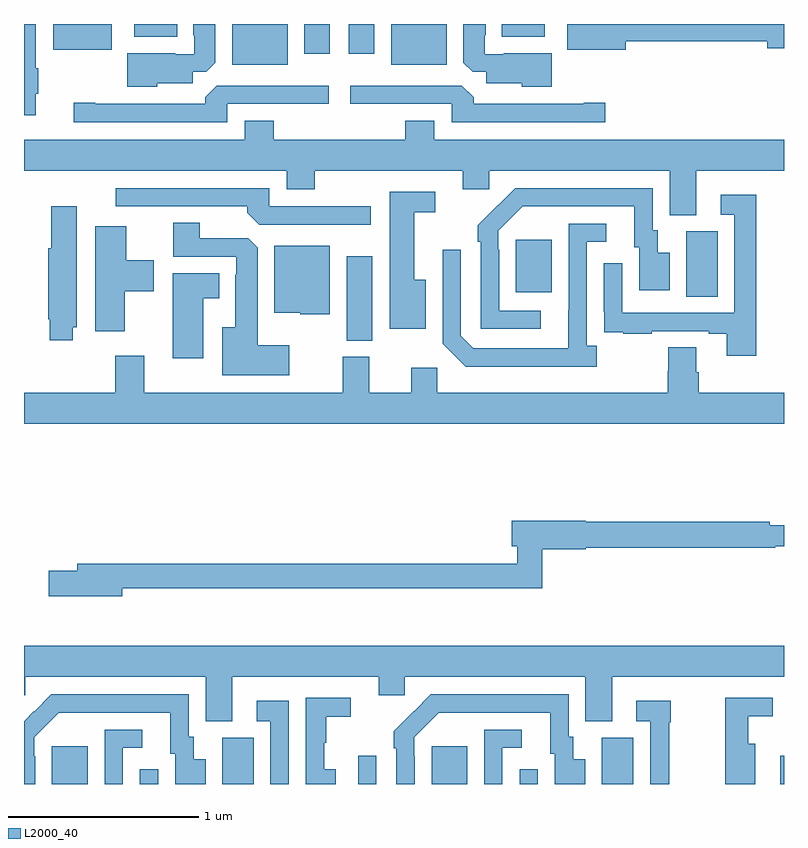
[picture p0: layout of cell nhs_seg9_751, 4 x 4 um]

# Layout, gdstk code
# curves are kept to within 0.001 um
import gdstk
lib = gdstk.Library(unit=1e-6, precision=1e-09)
def R(c, l, rs):  # rectangles x0, y0, x1, y1
    for r in rs: c.add(gdstk.rectangle(r[:2], r[2:], *l))
def P(c, l, *ps):  # polygons
    for p in ps: c.add(gdstk.Polygon(p, *l))
L2000_40 = (2000, 40)

nhs_seg9_751 = lib.new_cell('nhs_seg9_751')
R(nhs_seg9_751, L2000_40, [(149.147,1218.5,149.335,1218.7), (149.61,1218.5,149.706,1218.577), (150.044,1218.5,150.208,1218.744), (150.759,1218.5,150.855,1218.649), (151.145,1218.5,151.333,1218.7), (151.608,1218.5,151.704,1218.577), (152.042,1218.5,152.206,1218.744), (152.979,1218.5,153,1218.649), (150.698,1220.833,150.832,1221.277), (152.486,1221.064,152.65,1221.408), (151.589,1221.089,151.777,1221.364), (150.095,1222.286,150.388,1222.5), (150.932,1222.286,151.225,1222.5), (150.476,1222.344,150.61,1222.5), (150.71,1222.344,150.844,1222.5), (149.153,1222.364,149.461,1222.5), (149.579,1222.433,149.806,1222.5), (151.514,1222.433,151.741,1222.5)])
P(nhs_seg9_751, L2000_40, [(149.063,1222.132),(149.074,1222.132),(149.074,1222.268),(149.061,1222.268),(149.061,1222.5),(149,1222.5),(149,1222.02),(149.063,1222.02)],
  [(152.167,1222.408),(152.912,1222.408),(152.912,1222.373),(153,1222.373),(153,1222.5),(151.86,1222.5),(151.86,1222.364),(152.167,1222.364)],
  [(151.777,1222.345),(151.525,1222.345),(151.525,1222.341),(151.425,1222.341),(151.425,1222.441),(151.429,1222.441),(151.429,1222.5),(151.313,1222.5),(151.313,1222.297),(151.362,1222.248),(151.433,1222.248),(151.433,1222.187),(151.62,1222.187),(151.62,1222.169),(151.777,1222.169)],
  [(149.7,1222.187),(149.887,1222.187),(149.887,1222.248),(149.958,1222.248),(150.007,1222.297),(150.007,1222.5),(149.891,1222.5),(149.891,1222.441),(149.895,1222.441),(149.895,1222.341),(149.795,1222.341),(149.795,1222.345),(149.543,1222.345),(149.543,1222.169),(149.7,1222.169)],
  [(150.069,1222.08),(150.604,1222.08),(150.604,1222.176),(150.015,1222.176),(149.954,1222.114),(149.954,1222.08),(149.374,1222.08),(149.374,1222.085),(149.262,1222.085),(149.262,1221.984),(150.069,1221.984)],
  [(152.059,1222.085),(151.946,1222.085),(151.946,1222.08),(151.367,1222.08),(151.367,1222.114),(151.305,1222.176),(150.717,1222.176),(150.717,1222.08),(151.251,1222.08),(151.251,1221.984),(152.059,1221.984)],
  [(152.539,1221.728),(153,1221.728),(153,1221.892),(151.159,1221.892),(151.159,1221.991),(151.007,1221.991),(151.007,1221.892),(150.314,1221.892),(150.314,1221.991),(150.161,1221.991),(150.161,1221.892),(149,1221.892),(149,1221.728),(150.383,1221.728),(150.383,1221.629),(150.531,1221.629),(150.531,1221.728),(151.31,1221.728),(151.31,1221.63),(151.449,1221.63),(151.449,1221.728),(152.399,1221.728),(152.399,1221.493),(152.539,1221.493)],
  [(150.826,1221.54),(150.291,1221.54),(150.291,1221.636),(149.484,1221.636),(149.484,1221.54),(150.176,1221.54),(150.176,1221.506),(150.237,1221.444),(150.826,1221.444)],
  [(151.72,1220.991),(151.5,1220.991),(151.5,1221.311),(151.497,1221.311),(151.497,1221.411),(151.626,1221.54),(152.213,1221.54),(152.213,1221.324),(152.237,1221.324),(152.237,1221.099),(152.398,1221.099),(152.398,1221.295),(152.335,1221.295),(152.335,1221.414),(152.31,1221.414),(152.31,1221.636),(151.586,1221.636),(151.389,1221.441),(151.389,1221.353),(151.404,1221.353),(151.404,1220.895),(151.72,1220.895)],
  [(151.114,1221.154),(151.054,1221.154),(151.054,1221.51),(151.165,1221.51),(151.165,1221.618),(150.926,1221.618),(150.926,1220.897),(151.114,1220.897)],
  [(152.855,1221.601),(152.667,1221.601),(152.667,1221.495),(152.739,1221.495),(152.739,1220.979),(152.148,1220.979),(152.148,1221.241),(152.052,1221.241),(152.052,1220.986),(152.053,1220.986),(152.053,1220.877),(152.155,1220.877),(152.155,1220.871),(152.303,1220.871),(152.303,1220.883),(152.603,1220.883),(152.603,1220.871),(152.699,1220.871),(152.699,1220.754),(152.855,1220.754)],
  [(149.257,1220.904),(149.278,1220.904),(149.278,1221.541),(149.144,1221.541),(149.144,1221.319),(149.128,1221.319),(149.128,1220.947),(149.135,1220.947),(149.135,1220.835),(149.257,1220.835)],
  [(150.397,1220.809),(150.229,1220.809),(150.229,1221.323),(150.18,1221.372),(149.926,1221.372),(149.926,1221.455),(149.786,1221.455),(149.786,1221.276),(150.117,1221.276),(150.117,1221.179),(150.113,1221.179),(150.113,1220.905),(150.044,1220.905),(150.044,1220.651),(150.397,1220.651)],
  [(152.014,1220.806),(151.962,1220.806),(151.962,1221.354),(152.065,1221.354),(152.065,1221.45),(151.866,1221.45),(151.865,1220.793),(151.365,1220.793),(151.299,1220.859),(151.299,1221.313),(151.203,1221.313),(151.203,1220.817),(151.324,1220.696),(152.014,1220.696)],
  [(149.53,1221.094),(149.683,1221.094),(149.683,1221.256),(149.539,1221.256),(149.539,1221.436),(149.375,1221.436),(149.375,1220.883),(149.53,1220.883)],
  [(150.61,1221.334),(150.317,1221.334),(150.317,1220.981),(150.453,1220.981),(150.453,1220.972),(150.61,1220.972)],
  [(149.944,1221.056),(150.028,1221.056),(150.028,1221.187),(149.783,1221.187),(149.783,1220.742),(149.944,1220.742)],
  [(153,1220.56),(152.552,1220.56),(152.552,1220.666),(152.539,1220.666),(152.539,1220.798),(152.392,1220.798),(152.392,1220.673),(152.387,1220.673),(152.387,1220.56),(151.176,1220.56),(151.176,1220.692),(151.037,1220.692),(151.037,1220.56),(150.817,1220.56),(150.817,1220.748),(150.677,1220.748),(150.677,1220.56),(149.632,1220.56),(149.632,1220.755),(149.48,1220.755),(149.48,1220.56),(149,1220.56),(149,1220.396),(153,1220.396)],
  [(149.518,1219.53),(151.727,1219.53),(151.727,1219.736),(151.956,1219.736),(151.956,1219.744),(152.953,1219.744),(152.953,1219.752),(153,1219.752),(153,1219.861),(152.924,1219.861),(152.924,1219.88),(151.956,1219.88),(151.956,1219.886),(151.568,1219.886),(151.568,1219.751),(151.595,1219.751),(151.595,1219.658),(149.279,1219.658),(149.279,1219.622),(149.13,1219.622),(149.13,1219.487),(149.518,1219.487)],
  [(150.097,1219.064),(150.866,1219.064),(150.866,1218.966),(151.005,1218.966),(151.005,1219.064),(151.955,1219.064),(151.955,1218.829),(152.095,1218.829),(152.095,1219.064),(153,1219.064),(153,1219.228),(149,1219.228),(149,1218.966),(149.007,1218.966),(149.007,1219.064),(149.957,1219.064),(149.957,1218.829),(150.097,1218.829)],
  [(151.056,1218.647),(151.053,1218.647),(151.053,1218.747),(151.182,1218.876),(151.769,1218.876),(151.769,1218.66),(151.793,1218.66),(151.793,1218.5),(151.954,1218.5),(151.954,1218.631),(151.891,1218.631),(151.891,1218.75),(151.866,1218.75),(151.866,1218.972),(151.142,1218.972),(150.945,1218.777),(150.945,1218.689),(150.96,1218.689),(150.96,1218.5),(151.056,1218.5)],
  [(149.058,1218.647),(149.055,1218.647),(149.055,1218.747),(149.184,1218.876),(149.771,1218.876),(149.771,1218.66),(149.795,1218.66),(149.795,1218.5),(149.956,1218.5),(149.956,1218.631),(149.893,1218.631),(149.893,1218.75),(149.868,1218.75),(149.868,1218.972),(149.144,1218.972),(149,1218.83),(149,1218.5),(149.058,1218.5)],
  [(152.848,1218.712),(152.812,1218.712),(152.812,1218.857),(152.941,1218.857),(152.941,1218.954),(152.69,1218.954),(152.69,1218.5),(152.848,1218.5)],
  [(150.64,1218.577),(150.581,1218.577),(150.581,1218.717),(150.592,1218.717),(150.592,1218.853),(150.721,1218.853),(150.721,1218.954),(150.483,1218.954),(150.483,1218.5),(150.64,1218.5)],
  [(152.396,1218.824),(152.404,1218.824),(152.404,1218.937),(152.223,1218.937),(152.223,1218.831),(152.295,1218.831),(152.295,1218.5),(152.396,1218.5)],
  [(150.393,1218.937),(150.225,1218.937),(150.225,1218.831),(150.297,1218.831),(150.297,1218.5),(150.393,1218.5)],
  [(151.518,1218.69),(151.621,1218.69),(151.621,1218.786),(151.422,1218.786),(151.422,1218.5),(151.518,1218.5)],
  [(149.52,1218.69),(149.623,1218.69),(149.623,1218.786),(149.424,1218.786),(149.424,1218.5),(149.52,1218.5)])

lib.write_gds('nhs_seg9_751.gds')
